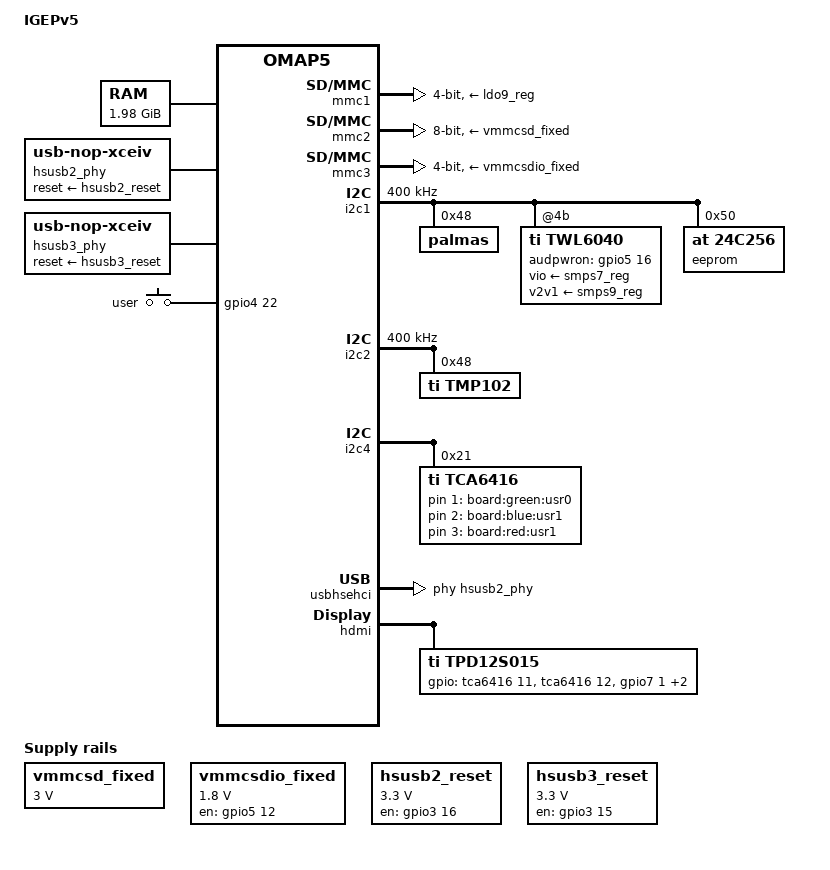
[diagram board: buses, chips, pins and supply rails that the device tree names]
/*
 * Copyright (C) 2013 ISEE 2007 SL - http://www.isee.biz/
 *
 * This program is free software; you can redistribute it and/or modify
 * it under the terms of the GNU General Public License version 2 as
 * published by the Free Software Foundation.
 */
/dts-v1/;

/include/ "omap5.dtsi"
/include/ "samsung_k3pe0e000b.dtsi"

/ {
	model = "IGEPv5";
	compatible = "isee,omap5-igep0050", "ti,omap5";

	cpus {
		cpu@0 {
			cpu0-supply = <&smps123_reg>;
		};
	};

	memory {
		device_type = "memory";
		reg = <0x80000000 0x7F000000>; /* 2032 MB */
	};

	vmmcsd_fixed: fixedregulator-mmcsd {
		compatible = "regulator-fixed";
		regulator-name = "vmmcsd_fixed";
		regulator-min-microvolt = <3000000>;
		regulator-max-microvolt = <3000000>;
	};

	vmmcsdio_fixed: fixedregulator-mmcsdio {
		compatible = "regulator-fixed";
		regulator-name = "vmmcsdio_fixed";
		regulator-min-microvolt = <1800000>;
		regulator-max-microvolt = <1800000>;
		gpio = <&gpio5 12 0>;	/* gpio5_140 WLAN_EN */
		startup-delay-us = <70000>;
		enable-active-high;
	};

	/* HS USB Port 2 RESET */
	hsusb2_reset: hsusb2_reset_reg {
		compatible = "regulator-fixed";
		regulator-name = "hsusb2_reset";
		regulator-min-microvolt = <3300000>;
		regulator-max-microvolt = <3300000>;
		gpio = <&gpio3 16 0>;	/* gpio3_80 HUB_NRESET */
		startup-delay-us = <70000>;
		enable-active-high;
	};

	/* HS USB Host PHY on PORT 2 */
	hsusb2_phy: hsusb2_phy {
		compatible = "usb-nop-xceiv";
		reset-supply = <&hsusb2_reset>;
	};

	/* HS USB Port 3 RESET */
	hsusb3_reset: hsusb3_reset_reg {
		compatible = "regulator-fixed";
		regulator-name = "hsusb3_reset";
		regulator-min-microvolt = <3300000>;
		regulator-max-microvolt = <3300000>;
		gpio = <&gpio3 15 0>;	/* gpio3_79 ETH_NRESET */
		startup-delay-us = <70000>;
		enable-active-high;
	};

	/* HS USB Host PHY on PORT 3 */
	hsusb3_phy: hsusb3_phy {
		compatible = "usb-nop-xceiv";
		reset-supply = <&hsusb3_reset>;
	};

	/* hsusb2_phy is clocked by FREF_CLK1 i.e. auxclk1 */
	clock_alias {
		clock-name = "auxclk1_ck";
		clock-alias = "main_clk";
		device = <&hsusb2_phy>;
		clock-frequency = <19200000>; /* 19.2 MHz */
	};

	sound {
		compatible = "ti,abe-twl6040";
		ti,model = "PandaBoard5";

		ti,jack-detection = <1>;
		ti,mclk-freq = <19200000>;

		ti,mcpdm = <&mcpdm>;
		ti,mcbsp1 = <&mcbsp1>;
		ti,mcbsp2 = <&mcbsp2>;

		ti,aess = <&aess>;

		ti,twl6040 = <&twl6040>;

		/* Audio routing */
		ti,audio-routing =
			"Headset Stereophone", "HSOL",
			"Headset Stereophone", "HSOR",
			"Line Out", "AUXL",
			"Line Out", "AUXR",
			"HSMIC", "Headset Mic",
			"Headset Mic", "Headset Mic Bias",
			"AFML", "Line In",
			"AFMR", "Line In",
			"Headset Playback", "PDM_DL1",
			"PDM_UL1", "Capture",
			"40122000.mcbsp Playback", "BT_VX_DL",
			"BT_VX_UL", "40122000.mcbsp Capture",
			"40124000.mcbsp Playback", "MM_EXT_DL",
			"MM_EXT_UL", "40124000.mcbsp Capture";
	};

	sound_hdmi {
		compatible = "ti,omap-hdmi-tpd12s015-audio";
		ti,model = "OMAP5HDMI";

		ti,hdmi_audio = <&hdmi>;
		ti,level_shifter = <&tpd12s015>;
	};

	gpio_keys {
		compatible = "gpio-keys";
		#address-cells = <1>;
		#size-cells = <0>;

		button@1 {
			debounce_interval = <50>;
			wakeup = <1>;
			linux,code = <276>; /* BTN_EXTRA */
			label = "user";
			gpios = <&gpio4 22 0>; /* gpio4_118 */

		};
	};

	leds {
		compatible = "gpio-leds";
		led@1 {
			label = "board:green:usr0";
			gpios = <&tca6416 1 0>;
			default-state = "off";
		};
		led@2 {
			label = "board:blue:usr1";
			gpios = <&tca6416 2 0>;
			default-state = "off";
		};
		led@3 {
			label = "board:red:usr1";
			gpios = <&tca6416 3 0>;
			default-state = "off";
		};
	};

	ocp {
		gpu: gpu@0x56000000 {
			gpu-supply = <&smps45_reg>;
		};
	};
};

&omap5_pmx_core {
	pinctrl-names = "default";
	pinctrl-0 = <
			&twl6040_pins
			&mcpdm_pins
			&dmic_pins
			&mcbsp1_pins
			&mcbsp2_pins
			&usbhost_pins
			&usbotg_pins
			&dss_hdmi_pins
			&tpd12s015_pins
			&tca6416_pins
			&palmas_pins
			&gpio_keys_pins
			&wlan_pins
			&i2c2_pins
	>;

	mmc1_pins: pinmux_mmc1_pins {
		pinctrl-single,pins = <
			0x1a2	0x118	/* sdcard_clk INPUT | MODE0 */
			0x1a4	0x118	/* sdcard_cmd INPUT | MODE0 */
			0x1a6	0x118	/* sdcard_data2 INPUT | MODE0 */
			0x1a8	0x118	/* sdcard_data3 INPUT | MODE0 */
			0x1aa	0x118	/* sdcard_data0 INPUT | MODE0 */
			0x1ac	0x118	/* sdcard_data1 INPUT | MODE0 */
		>;
	};

	mmc2_pins: pinmux_mmc2_pins {
		pinctrl-single,pins = <
			0x0	0x118	/* emmc_clk INPUT | MODE0 */
			0x2	0x118	/* emmc_cmd INPUT | MODE0 */
			0x4	0x118	/* emmc_data0 INPUT | MODE0 */
			0x6	0x118	/* emmc_data1 INPUT | MODE0 */
			0x8	0x118	/* emmc_data2 INPUT | MODE0 */
			0xa	0x118	/* emmc_data3 INPUT | MODE0 */
			0xc	0x118	/* emmc_data4 INPUT | MODE0 */
			0xe	0x118	/* emmc_data5 INPUT | MODE0 */
			0x10	0x118	/* emmc_data6 INPUT | MODE0 */
			0x12	0x118	/* emmc_data7 INPUT | MODE0 */
		>;
	};

	mmc3_pins: pinmux_mmc3_pins {
		pinctrl-single,pins = <
			0x164 0x118	/* wlsdio_clk INPUT | MODE0 */
			0x166 0x118	/* wlsdio_cmd INPUT | MODE0 */
			0x168 0x118	/* wlsdio_data0 INPUT | MODE0 */
			0x16a 0x118	/* wlsdio_data1 INPUT | MODE0 */
			0x16c 0x118	/* wlsdio_data2 INPUT | MODE0 */
			0x16e 0x118	/* wlsdio_data3 INPUT | MODE0 */
		>;
	};

	wlan_pins: pinmux_wlan_pins {
		pinctrl-single,pins = <
			0x17c 0x6	/* mcspi1_clk.gpio5_140 OUTPUT | MODE6  WLAN_EN */
			/*0x17e 0x6	   mcspi1_somi.gpio5_141 OUTPUT | MODE6 HOST_WU */
			/*		   WL_mINT_WK14 */
			0x180 0x6	/* mcspi1_simo.gpio5_142 OUTPUT | MODE 6 BT_EN */
		>;
	};

	twl6040_pins: pinmux_twl6040_pins {
		pinctrl-single,pins = <
			0x184 0x6	/* mcspi1_cs1.gpio5_144 OUTPUT | MODE6 */
			0x18a 0x6	/* perslimbus2_clock.gpio5_145 OUTPUT | MODE6 */
		>;
	};

	mcpdm_pins: pinmux_mcpdm_pins {
		pinctrl-single,pins = <
			0x142 0x108	/* abe_clks.abe_clks INPUT PULLDOWN | MODE0 */
			0x15c 0x108	/* abemcpdm_ul_data.abemcpdm_ul_data INPUT PULLDOWN | MODE0 */
			0x15e 0x108	/* abemcpdm_dl_data.abemcpdm_dl_data INPUT PULLDOWN | MODE0 */
			0x160 0x118	/* abemcpdm_frame.abemcpdm_frame INPUT PULLUP | MODE0 */
			0x162 0x108	/* abemcpdm_lb_clk.abemcpdm_lb_clk INPUT PULLDOWN | MODE0 */
		>;
	};

	dmic_pins: pinmux_dmic_pins {
		pinctrl-single,pins = <
			0x144 0x100	/* abedmic_din1.abedmic_din1 INPUT | MODE0 */
			0x146 0x100	/* abedmic_din2.abedmic_din2 INPUT | MODE0 */
			0x148 0x100	/* abedmic_din3.abedmic_din3 INPUT | MODE0 */
			0x14a 0		/* abedmic_clk1.abedmic_clk1 OUTPUT | MODE0 */
		>;
	};

	mcbsp1_pins: pinmux_mcbsp1_pins {
		pinctrl-single,pins = <
			0x14c 0x101	/* abedmic_clk2.abemcbsp1_fsx INPUT | MODE1 */
			0x14e 0x9	/* abedmic_clk3.abemcbsp1_dx OUTPUT PULLDOWN | MODE1 */
			0x150 0x101	/* abeslimbus1_clock.abemcbsp1_clkx INPUT | MODE0 */
			0x152 0x109	/* abeslimbus1_data.abemcbsp1_dr INPUT PULLDOWN | MODE1 */
		>;
	};

	mcbsp2_pins: pinmux_mcbsp2_pins {
		pinctrl-single,pins = <
			0x154 0x108	/* abemcbsp2_dr.abemcbsp2_dr INPUT PULLDOWN | MODE0 */
			0x156 0x8	/* abemcbsp2_dx.abemcbsp2_dx OUTPUT PULLDOWN | MODE0 */
			0x158 0x100	/* abemcbsp2_fsx.abemcbsp2_fsx INPUT | MODE0 */
			0x15a 0x100	/* abemcbsp2_clkx.abemcbsp2_clkx INPUT | MODE0 */
		>;
	};

	usbotg_pins: pinmux_usbotg_pins {
		pinctrl-single,pins = <
			0x1ae 0x100	/* usbd0_hs_dp INPUT | MODE0 */
			0x1b0 0x100	/* usbd0_hs_dm INPUT | MODE0 */
		>;
	};

	usbhost_pins: pinmux_usbhost_pins {
		pinctrl-single,pins = <
			0x84 0x100	/* usbb2_hsic_strobe INPUT | MODE 0 */
			0x86 0x100	/* usbb2_hsic_data INPUT | MODE 0 */

			0x19e 0x100	/* usbb3_hsic_strobe INPUT | MODE 0 */
			0x1a0 0x100	/* usbb3_hsic_data INPUT | MODE 0 */

			0x70 0x6	/* gpio3_80 OUTPUT | MODE 6 HUB_NRESET */
			0x6e 0x6	/* gpio3_79 OUTPUT | MODE 6 ETH_NRESET */
		>;
	};

	dss_hdmi_pins: pinmux_dss_hdmi_pins {
		pinctrl-single,pins = <
			0x0fc 0x118	/* hdmi_cec.hdmi_cec INPUT PULLUP | MODE 0 */
			0x100 0x106	/* GPIO7_194, DDC-SCL */
			0x102 0x106	/* GPIO7_195, DDC-SDA */
		>;
	};

	tpd12s015_pins: pinmux_tpd12s015_pins {
		pinctrl-single,pins = <
			0x0fe 0x116	/* hdmi_hpd.gpio7_193 INPUT PULLDOWN | MODE6 */
		>;
	};

	i2c2_pins: pinmux_i2c2_pins {
		pinctrl-single,pins = <
			0x178 0x100	/* i2c2_scl INPUT | MODE0 */
			0x17a 0x100	/* i2c2_sda INPUT | MODE0 */
		>;
	};

	tca6416_pins: pinmux_tca6414_pins {
		pinctrl-single,pins = <
			0xb8 0x100	/* i2c4_scl INPUT | MODE0 */
			0xba 0x100	/* i2c4_sda INPUT | MODE0 */
		>;
	};

	uart1_pins: pinmux_uart1_pins {
		pinctrl-single,pins = <
			0x60 0x0	/* uart1_tx.uart1_cts MODE0 */
			0x62 0x118	/* uart1_tx.uart1_cts INPUT | PULLUP | MODE0 */
			0x64 0x118	/* uart1_rx.uart1_rts INPUT | PULLUP | MODE0 */
			0x66 0		/* uart1_rx.uart1_rts MODE0 */
		>;
	};

	uart3_pins: pinmux_uart3_pins {
		pinctrl-single,pins = <
			0x19a 0x0	/* uart3_rts_irsd.uart3_tx_irtx MODE0 */
			0x19c 0x118	/* uart3_rx_irrx.uart3_usbb3_hsic INPUT | PULLUP | MODE0 */
		>;
	};

	uart5_pins: pinmux_uart5_pins {
		pinctrl-single,pins = <
			0x170 0x118	/* uart5_rx.uart5_rx INPUT | PULLUP | MODE0 */
			0x172 0x0	/* uart5_tx.uart5_tx MODE0 */
			0x174 0x118	/* uart5_cts.uart5_rts INPUT | PULLUP | MODE0 */
			0x176 0x0	/* uart5_cts.uart5_rts MODE0 */
		>;
	};

	mcspi2_pins: pinmux_mcspi2_pins {
		pinctrl-single,pins = <
			0xbc 0x100      /*  MCSPI2_CLK INPUTENABLE | MODE0 */
			0xbe 0x100      /*  MCSPI2_SIMO INPUTENABLE | MODE0 */
			0xc0 0x118      /*  MCSPI2_SOMI PULLUP | INPUTENABLE | MODE0*/
			0xc2 0x0        /*  MCSPI2_CS MODE0*/
		>;
	};

	mcspi3_pins: pinmux_mcspi3_pins {
		pinctrl-single,pins = <
			0x78 0x101      /*  MCSPI2_SOMI INPUTENABLE | MODE1 */
			0x7a 0x101      /*  MCSPI2_CS INPUTENABLE | MODE1 */
			0x7c 0x101      /*  MCSPI2_SIMO INPUTENABLE | MODE1 */
			0x7e 0x101      /*  MCSPI2_CLK INPUTENABLE | MODE1 */
		>;
	};
	
	palmas_pins: pinmux_palmas_pins {
		pinctrl-single,pins = <
			0x140 0x11f	/* MSLEEP INPUT | PULLUP | MODE7 */
		>;
	};

	gpio_keys_pins: pinmux_gpio_keys_pins {
		pinctrl-single,pins = <
			0x46 0x106	/* c2c_data13.gpio4_118 INPUT | MODE6 */
		>;
	};
};

&omap5_pmx_wkup {
	pinctrl-names = "default";
	pinctrl-0 = <
			&usbhost_wkup_pins
			&wlan_wkup_pins
	>;

	usbhost_wkup_pins: pinmux_usbhost_wkup_pins {
		pinctrl-single,pins = <
			0x1A 0x0	/* fref_clk1_out OUTPUT | MODE 7 for USB hub clk */
		>;
	};

	wlan_wkup_pins: pinmux_wlan_wkup_pins {
		pinctrl-single,pins = <
			0x0 0x106	/* llia_wakereqin.gpio1_14 INPUT | MODE6 WL_mINT_WK14 */
		>;
	};
};

&mmc1 {
        pinctrl-names = "default";
        pinctrl-0 = <&mmc1_pins>;

	vmmc-supply = <&ldo9_reg>;
	bus-width = <4>;
};

&mmc2 {
        pinctrl-names = "default";
        pinctrl-0 = <&mmc2_pins>;

	vmmc-supply = <&vmmcsd_fixed>;
	bus-width = <8>;
	ti,non-removable;
};

&mmc3 {
        pinctrl-names = "default";
        pinctrl-0 = <&mmc3_pins>;

	vmmc-supply = <&vmmcsdio_fixed>;
	bus-width = <4>;
	cap-power-off-card;
	keep-power-in-suspend;
	ti,non-removable;
};

&mmc4 {
	status = "disabled";
};

&mmc5 {
	status = "disabled";
};

&mcbsp3 {
	status = "disabled";
};

&emif1 {
	cs1-used;
	device-handle = <&samsung_K3PE0E000B>;
};

&emif2 {
	cs1-used;
	device-handle = <&samsung_K3PE0E000B>;
};

&i2c1 {
	clock-frequency = <400000>;

	palmas: palmas@48 {
		reg = <0x48>;
		/* SPI = 0, IRQ# = 7, 4 = active high level-sensitive */
		interrupts = <0 7 4>; /* IRQ_SYS_1N cascaded to gic */
		interrupt-parent = <&gic>;
	};

	twl6040: twl@4b {
		compatible = "ti,twl6040";

		interrupts = <0 119 4>;  /* IRQ_SYS_2N cascaded to gic */
		interrupt-parent = <&gic>;
		ti,audpwron-gpio = <&gpio5 16 0>;   /* gpio line 144 */

		vio-supply = <&smps7_reg>;
		v2v1-supply = <&smps9_reg>;
		enable-active-high;
	};

	eeprom: eeprom@50 {
		compatible = "at,24c256";
		reg = <0x50>;
	};
};

&i2c2 { 
	clock-frequency = <400000>;

	/* Temperature Sensor */
	tmp102: tmp102@24 {
		compatible = "ti,tmp102";
		reg = <0x48>;
	};

};

&i2c4 {
	tca6416: tca6416@21 {
		compatible = "ti,tca6416";
		reg = <0x21>;
		gpio-controller;
		#gpio-cells = <2>;
	};
};

&usbhshost {
	port2-mode = "ehci-hsic";
	port3-mode = "ehci-hsic";
};

&usbhsehci {
	phys = <0 &hsusb2_phy &hsusb3_phy>;
};

/include/ "palmas.dtsi"
/include/ "twl6040.dtsi"

&hdmi {
	vdda_hdmi_dac-supply = <&ldo7_reg>;

	tpd12s015: tpd12s015 {
		compatible = "ti,tpd12s015";

		gpios = <&tca6416 11 0>,	/* TCA6416 P01, CT_CP_HDP */
			<&tca6416 12 0>,	/* TCA6416 P00, LS_OE*/
			<&gpio7 1 0>,		/* 193, HPD */
			<&gpio7 2 0>,		/* 194, SCL */
			<&gpio7 3 0>;		/* 195, SDA */


		hdmi-monitor {
			compatible = "ti,hdmi_panel";
		};

	};
};

&dsi1 {
	vdds_dsi-supply = <&ldo7_reg>;
};

&dsi2 {
	vdds_dsi-supply = <&ldo7_reg>;
};

&uart1 {
        pinctrl-names = "default";
        pinctrl-0 = <&uart1_pins>;
};

&uart3 {
        pinctrl-names = "default";
        pinctrl-0 = <&uart3_pins>;
};

&uart5 {
        pinctrl-names = "default";
        pinctrl-0 = <&uart5_pins>;
};

&mcspi2 {
        pinctrl-names = "default";
        pinctrl-0 = <&mcspi2_pins>;
};

&mcspi3 {
        pinctrl-names = "default";
        pinctrl-0 = <&mcspi3_pins>;
};

&mcspi4 {
	/* used for wlsdio */
	status = "disabled";
};
